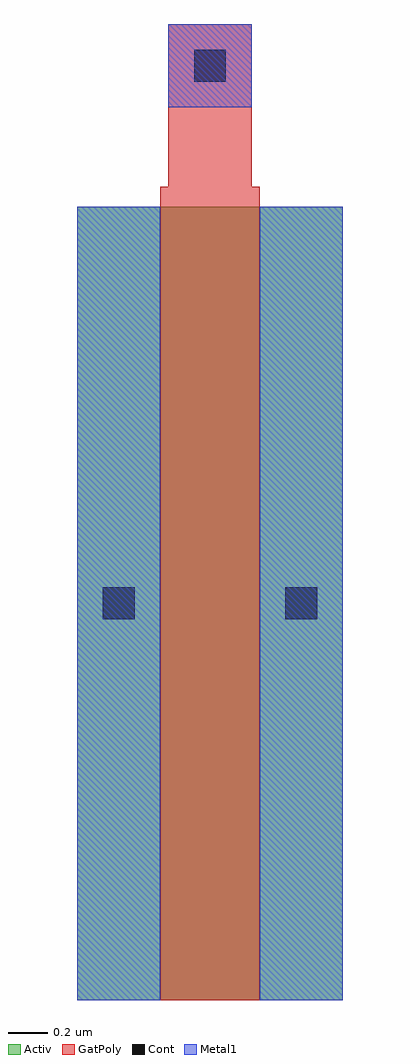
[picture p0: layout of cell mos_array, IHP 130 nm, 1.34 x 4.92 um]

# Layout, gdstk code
import gdstk
lib = gdstk.Library(unit=1e-6, precision=1e-09)
def R(c, l, rs):  # rectangles x0, y0, x1, y1
    for r in rs: c.add(gdstk.rectangle(r[:2], r[2:], *l))
Activ = (1, 0)
GatPoly = (5, 0)
Cont = (6, 0)
Metal1 = (8, 0)

mos_array = lib.new_cell('mos_array')
R(mos_array, Activ, [(0,0,1.34,4)])
R(mos_array, GatPoly, [(0.42,0,0.92,4), (0.42,4,0.92,4.1), (0.46,4.1,0.88,4.92)])
R(mos_array, Cont, [(0.13,1.92,0.29,2.08), (1.05,1.92,1.21,2.08), (0.59,4.63,0.75,4.79)])
R(mos_array, Metal1, [(0,0,0.42,4), (0.92,0,1.34,4), (0.46,4.5,0.88,4.92)])

lib.write_gds('mos_array.gds')
